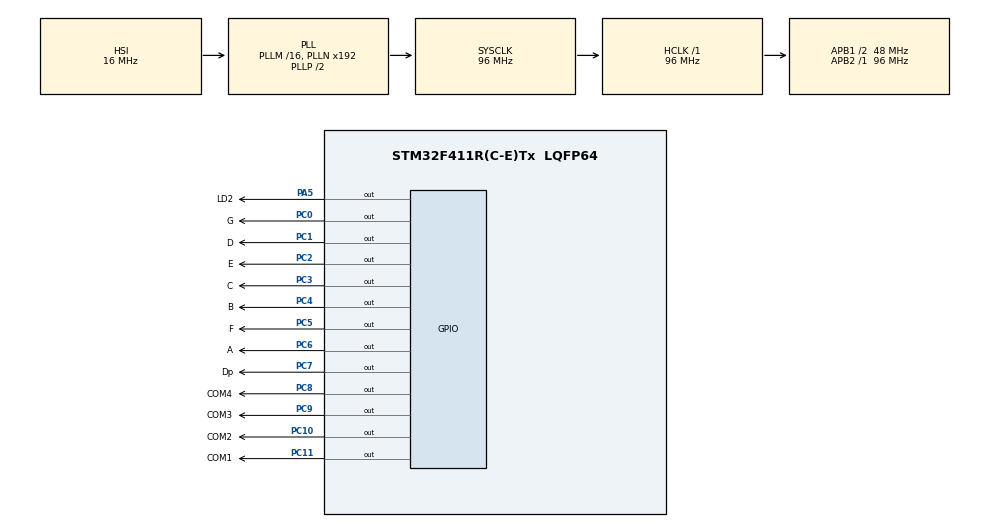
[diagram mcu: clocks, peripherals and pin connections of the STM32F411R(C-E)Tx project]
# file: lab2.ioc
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Mcu.Family=STM32F4
Mcu.Name=STM32F411R(C-E)Tx
Mcu.Package=LQFP64
NVIC.PriorityGroup=NVIC_PRIORITYGROUP_4
NVIC.TIM1_TRG_COM_TIM11_IRQn=true\:0\:0\:false\:false\:true\:true\:true\:true
PA5.GPIO_Label=LD2
PA5.Signal=GPIO_Output
PC0.GPIO_Label=G
PC0.Signal=GPIO_Output
PC1.GPIO_Label=D
PC1.Signal=GPIO_Output
PC10.GPIO_Label=COM2
PC10.Signal=GPIO_Output
PC11.GPIO_Label=COM1
PC11.Signal=GPIO_Output
PC2.GPIO_Label=E
PC2.Signal=GPIO_Output
PC3.GPIO_Label=C
PC3.Signal=GPIO_Output
PC4.GPIO_Label=B
PC4.Signal=GPIO_Output
PC5.GPIO_Label=F
PC5.Signal=GPIO_Output
PC6.GPIO_Label=A
PC6.Signal=GPIO_Output
PC7.GPIO_Label=Dp
PC7.Signal=GPIO_Output
PC8.GPIO_Label=COM4
PC8.Signal=GPIO_Output
PC9.GPIO_Label=COM3
PC9.Signal=GPIO_Output
ProjectManager.HeapSize=0x200
ProjectManager.StackSize=0x400
ProjectManager.TargetToolchain=STM32CubeIDE
RCC.AHBFreq_Value=96000000
RCC.APB1CLKDivider=RCC_HCLK_DIV2
RCC.APB1Freq_Value=48000000
RCC.APB1TimFreq_Value=96000000
RCC.APB2Freq_Value=96000000
RCC.APB2TimFreq_Value=96000000
RCC.CortexFreq_Value=96000000
RCC.HCLKFreq_Value=96000000
RCC.HSE_VALUE=25000000
RCC.HSI_VALUE=16000000
RCC.LSE_VALUE=32768
RCC.SYSCLKFreq_VALUE=96000000
RCC.SYSCLKSource=RCC_SYSCLKSOURCE_PLLCLK
RCC.VCOOutputFreq_Value=192000000
TIM11.Period=499
TIM11.Prescaler=400
VP_TIM11_VS_ClockSourceINT.Mode=Enable_Timer
board=custom

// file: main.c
/* USER CODE BEGIN Header */
/**
  ******************************************************************************
  * @file           : main.c
  * @brief          : Main program body
  ******************************************************************************
  * @attention
  *
  * Copyright (c) 2024 STMicroelectronics.
  * All rights reserved.
  *
  * This software is licensed under terms that can be found in the LICENSE file
  * in the root directory of this software component.
  * If no LICENSE file comes with this software, it is provided AS-IS.
  *
  ******************************************************************************
  */
/* USER CODE END Header */
#include "main.h"

/* USER CODE BEGIN PTD */
int liczba=0;
static uint8_t licznik_przerwan=0;
uint8_t tysiac, setka, dziesiatka, jednostka;

/* USER CODE END PTD */

TIM_HandleTypeDef htim11;

void SystemClock_Config(void);
static void MX_GPIO_Init(void);
static void MX_TIM11_Init(void);
/* USER CODE BEGIN PFP */

void przelicz(uint16_t liczba)
{
	if (liczba < 10 && 0<liczba)
	      {jednostka=liczba;
	      }
	      else if (9 <liczba &&liczba < 100)
	      {
	          dziesiatka = liczba / 10;
	          jednostka = liczba % 10;

	      }
	      else if (99<liczba && liczba < 1000)
	      {
	          // Extract hundreds, tens, and units
	          setka = liczba / 100;
	          dziesiatka = (liczba / 10) % 10;
	          jednostka = liczba % 10;

	      }
	      else if(999< liczba && liczba < 9999)
	      {
	          // Extract thousands, hundreds, tens, and units
	          tysiac = liczba / 1000;
	          setka = (liczba / 100) % 10;
	          dziesiatka = (liczba / 10) % 10;
	          jednostka = liczba % 10;

	      }

}
void wypisz_liczbe(uint8_t cyfra)
{
      HAL_GPIO_WritePin(GPIOC, A_Pin | B_Pin | C_Pin | D_Pin | E_Pin | F_Pin | G_Pin | Dp_Pin, GPIO_PIN_RESET);

      switch (cyfra)
      {
          case 0:
              HAL_GPIO_WritePin(GPIOC, A_Pin | B_Pin | C_Pin | D_Pin | E_Pin | F_Pin, GPIO_PIN_SET);
              break;
          case 1:
              HAL_GPIO_WritePin(GPIOC, B_Pin | C_Pin, GPIO_PIN_SET);
              break;
          case 2:
              HAL_GPIO_WritePin(GPIOC, A_Pin | B_Pin | D_Pin | E_Pin | G_Pin, GPIO_PIN_SET);
              break;
          case 3:
              HAL_GPIO_WritePin(GPIOC, A_Pin | B_Pin | C_Pin | D_Pin | G_Pin, GPIO_PIN_SET);
              break;
          case 4:
              HAL_GPIO_WritePin(GPIOC, B_Pin | C_Pin | F_Pin | G_Pin, GPIO_PIN_SET);
              break;
          case 5:
              HAL_GPIO_WritePin(GPIOC, A_Pin | C_Pin | D_Pin | F_Pin | G_Pin, GPIO_PIN_SET);
              break;
          case 6:
              HAL_GPIO_WritePin(GPIOC, A_Pin | C_Pin | D_Pin | E_Pin | F_Pin | G_Pin, GPIO_PIN_SET);
              break;
          case 7:
              HAL_GPIO_WritePin(GPIOC, A_Pin | B_Pin | C_Pin, GPIO_PIN_SET);
              break;
          case 8:
              HAL_GPIO_WritePin(GPIOC, A_Pin | B_Pin | C_Pin | D_Pin | E_Pin | F_Pin | G_Pin, GPIO_PIN_SET);
              break;
          case 9:
              HAL_GPIO_WritePin(GPIOC, A_Pin | B_Pin | C_Pin | D_Pin | F_Pin | G_Pin, GPIO_PIN_SET);
              break;
          default:
              HAL_GPIO_WritePin(GPIOC, A_Pin | B_Pin | C_Pin | D_Pin | E_Pin | F_Pin | G_Pin | Dp_Pin, GPIO_PIN_RESET);
              break;
      }
  }

void wyb_com(uint8_t com)
  {
      HAL_GPIO_WritePin(GPIOC, COM1_Pin | COM2_Pin | COM3_Pin | COM4_Pin, GPIO_PIN_SET);

      switch (com)
      {
          case 3:
              HAL_GPIO_WritePin(GPIOC, COM1_Pin, GPIO_PIN_RESET);
              break;
          case 2:
              HAL_GPIO_WritePin(GPIOC, COM2_Pin, GPIO_PIN_RESET);
              break;
          case 1:
              HAL_GPIO_WritePin(GPIOC, COM3_Pin, GPIO_PIN_RESET);
              break;
          case 0:
              HAL_GPIO_WritePin(GPIOC, COM4_Pin, GPIO_PIN_RESET);
              break;
          default:
              return;
      }
  }

void HAL_TIM_PeriodElapsedCallback(TIM_HandleTypeDef *htim){
	if (htim->Instance == TIM11){
		if (licznik_przerwan>3)
		{
			licznik_przerwan=0;
		}

		if(licznik_przerwan==0)
				{
			wyb_com(0);
				wypisz_liczbe(jednostka);

				}
		else if(licznik_przerwan==1)
				{
			wyb_com(1);
				wypisz_liczbe(dziesiatka);

				}
		else if(licznik_przerwan==2)
				{
			wyb_com(2);
				wypisz_liczbe(setka);

				}
		else if(licznik_przerwan==3)
				{
			wyb_com(3);
				wypisz_liczbe(tysiac);

				}
		licznik_przerwan=licznik_przerwan+1;

	}
}

/* USER CODE END PFP */

int main(void)
{

  /* MCU Configuration--------------------------------------------------------*/

  /* Reset of all peripherals, Initializes the Flash interface and the Systick. */
  HAL_Init();

  /* Configure the system clock */
  SystemClock_Config();

  /* Initialize all configured peripherals */
  MX_GPIO_Init();
  MX_TIM11_Init();
  /* USER CODE BEGIN 2 */
HAL_TIM_Base_Start_IT(&htim11);

  /* USER CODE END 2 */

  /* Infinite loop */
  /* USER CODE BEGIN WHILE */

  while (1)
  {
liczba=liczba+1;
przelicz(liczba);

HAL_Delay(10);

//	  	if(licznik_przerwan==0)
//	  					{
//	  				wypisz_liczbe(jednostka);
//	  					}
//	  			else if(licznik_przerwan==1)
//	  					{
//	  				wypisz_liczbe(dziesiatka);
//	  					}
//	  			else if(licznik_przerwan==2)
//	  					{
//	  				wypisz_liczbe(setka);
//
//	  					}
//	  			else if(licznik_przerwan==3)
//	  					{
//	  				wypisz_liczbe(tysiac);
//	  					}
	  //jedna funkcja od przedk
	  // druga od wyboru
	  // 3 id przeliczenia

    /* USER CODE END WHILE */

  }
}

void SystemClock_Config(void)
{
  RCC_OscInitTypeDef RCC_OscInitStruct = {0};
  RCC_ClkInitTypeDef RCC_ClkInitStruct = {0};

  /** Configure the main internal regulator output voltage
  */
  __HAL_RCC_PWR_CLK_ENABLE();
  __HAL_PWR_VOLTAGESCALING_CONFIG(PWR_REGULATOR_VOLTAGE_SCALE1);

  /** Initializes the RCC Oscillators according to the specified parameters
  * in the RCC_OscInitTypeDef structure.
  */
  RCC_OscInitStruct.OscillatorType = RCC_OSCILLATORTYPE_HSI;
  RCC_OscInitStruct.HSIState = RCC_HSI_ON;
  RCC_OscInitStruct.HSICalibrationValue = RCC_HSICALIBRATION_DEFAULT;
  RCC_OscInitStruct.PLL.PLLState = RCC_PLL_ON;
  RCC_OscInitStruct.PLL.PLLSource = RCC_PLLSOURCE_HSI;
  RCC_OscInitStruct.PLL.PLLM = 16;
  RCC_OscInitStruct.PLL.PLLN = 192;
  RCC_OscInitStruct.PLL.PLLP = RCC_PLLP_DIV2;
  RCC_OscInitStruct.PLL.PLLQ = 4;
  if (HAL_RCC_OscConfig(&RCC_OscInitStruct) != HAL_OK)
  {
    Error_Handler();
  }

  /** Initializes the CPU, AHB and APB buses clocks
  */
  RCC_ClkInitStruct.ClockType = RCC_CLOCKTYPE_HCLK|RCC_CLOCKTYPE_SYSCLK
                              |RCC_CLOCKTYPE_PCLK1|RCC_CLOCKTYPE_PCLK2;
  RCC_ClkInitStruct.SYSCLKSource = RCC_SYSCLKSOURCE_PLLCLK;
  RCC_ClkInitStruct.AHBCLKDivider = RCC_SYSCLK_DIV1;
  RCC_ClkInitStruct.APB1CLKDivider = RCC_HCLK_DIV2;
  RCC_ClkInitStruct.APB2CLKDivider = RCC_HCLK_DIV1;

  if (HAL_RCC_ClockConfig(&RCC_ClkInitStruct, FLASH_LATENCY_3) != HAL_OK)
  {
    Error_Handler();
  }
}

static void MX_TIM11_Init(void)
{

  htim11.Instance = TIM11;
  htim11.Init.Prescaler = 400;
  htim11.Init.CounterMode = TIM_COUNTERMODE_UP;
  htim11.Init.Period = 499;
  htim11.Init.ClockDivision = TIM_CLOCKDIVISION_DIV1;
  htim11.Init.AutoReloadPreload = TIM_AUTORELOAD_PRELOAD_DISABLE;
  if (HAL_TIM_Base_Init(&htim11) != HAL_OK)
  {
    Error_Handler();
  }

}

static void MX_GPIO_Init(void)
{
  GPIO_InitTypeDef GPIO_InitStruct = {0};

  /* GPIO Ports Clock Enable */
  __HAL_RCC_GPIOC_CLK_ENABLE();
  __HAL_RCC_GPIOA_CLK_ENABLE();

  /*Configure GPIO pin Output Level */
  HAL_GPIO_WritePin(GPIOC, G_Pin|D_Pin|E_Pin|C_Pin
                          |B_Pin|F_Pin|A_Pin|Dp_Pin
                          |COM4_Pin|COM3_Pin|COM2_Pin|COM1_Pin, GPIO_PIN_RESET);

  /*Configure GPIO pin Output Level */
  HAL_GPIO_WritePin(LD2_GPIO_Port, LD2_Pin, GPIO_PIN_RESET);

  /*Configure GPIO pins : G_Pin D_Pin E_Pin C_Pin
                           B_Pin F_Pin A_Pin Dp_Pin
                           COM4_Pin COM3_Pin COM2_Pin COM1_Pin */
  GPIO_InitStruct.Pin = G_Pin|D_Pin|E_Pin|C_Pin
                          |B_Pin|F_Pin|A_Pin|Dp_Pin
                          |COM4_Pin|COM3_Pin|COM2_Pin|COM1_Pin;
  GPIO_InitStruct.Mode = GPIO_MODE_OUTPUT_PP;
  GPIO_InitStruct.Pull = GPIO_NOPULL;
  GPIO_InitStruct.Speed = GPIO_SPEED_FREQ_LOW;
  HAL_GPIO_Init(GPIOC, &GPIO_InitStruct);

  /*Configure GPIO pin : LD2_Pin */
  GPIO_InitStruct.Pin = LD2_Pin;
  GPIO_InitStruct.Mode = GPIO_MODE_OUTPUT_PP;
  GPIO_InitStruct.Pull = GPIO_NOPULL;
  GPIO_InitStruct.Speed = GPIO_SPEED_FREQ_LOW;
  HAL_GPIO_Init(LD2_GPIO_Port, &GPIO_InitStruct);

}

void Error_Handler(void)
{
  __disable_irq();
  while (1)
  {
  }
}
